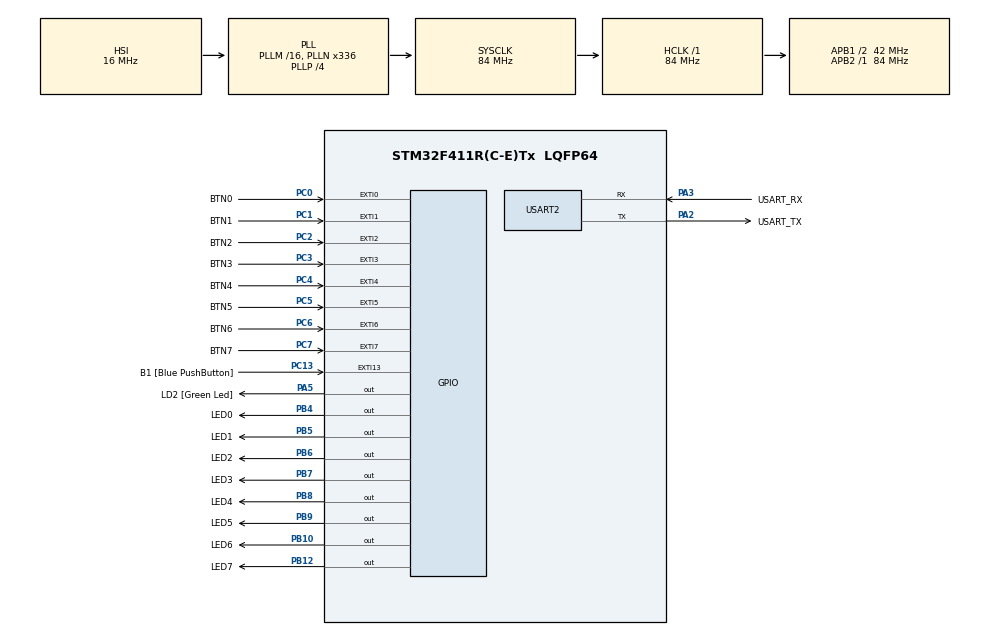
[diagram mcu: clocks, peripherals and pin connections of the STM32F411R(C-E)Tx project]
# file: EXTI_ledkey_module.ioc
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Mcu.Family=STM32F4
Mcu.Name=STM32F411R(C-E)Tx
Mcu.Package=LQFP64
NVIC.EXTI0_IRQn=true\:0\:0\:false\:false\:true\:true\:true\:true
NVIC.EXTI15_10_IRQn=true\:0\:0\:false\:false\:true\:true\:true\:true
NVIC.EXTI1_IRQn=true\:0\:0\:false\:false\:true\:true\:true\:true
NVIC.EXTI2_IRQn=true\:0\:0\:false\:false\:true\:true\:true\:true
NVIC.EXTI3_IRQn=true\:0\:0\:false\:false\:true\:true\:true\:true
NVIC.EXTI4_IRQn=true\:0\:0\:false\:false\:true\:true\:true\:true
NVIC.EXTI9_5_IRQn=true\:0\:0\:false\:false\:true\:true\:true\:true
NVIC.PriorityGroup=NVIC_PRIORITYGROUP_0
PA13.GPIO_Label=TMS
PA13.Mode=Serial_Wire
PA13.Signal=SYS_JTMS-SWDIO
PA14.GPIO_Label=TCK
PA14.Mode=Serial_Wire
PA14.Signal=SYS_JTCK-SWCLK
PA2.GPIO_Label=USART_TX
PA2.Mode=Asynchronous
PA2.Signal=USART2_TX
PA3.GPIO_Label=USART_RX
PA3.Mode=Asynchronous
PA3.Signal=USART2_RX
PA5.GPIO_Label=LD2 [Green Led]
PA5.Signal=GPIO_Output
PB10.GPIO_Label=LED6
PB10.Signal=GPIO_Output
PB12.GPIO_Label=LED7
PB12.Signal=GPIO_Output
PB3.GPIO_Label=SWO
PB3.Signal=SYS_JTDO-SWO
PB4.GPIO_Label=LED0
PB4.Signal=GPIO_Output
PB5.GPIO_Label=LED1
PB5.Signal=GPIO_Output
PB6.GPIO_Label=LED2
PB6.Signal=GPIO_Output
PB7.GPIO_Label=LED3
PB7.Signal=GPIO_Output
PB8.GPIO_Label=LED4
PB8.Signal=GPIO_Output
PB9.GPIO_Label=LED5
PB9.Signal=GPIO_Output
PC0.GPIO_Label=BTN0
PC0.Signal=GPXTI0
PC1.GPIO_Label=BTN1
PC1.Signal=GPXTI1
PC13-ANTI_TAMP.GPIO_Label=B1 [Blue PushButton]
PC13-ANTI_TAMP.GPIO_ModeDefaultEXTI=GPIO_MODE_IT_FALLING
PC13-ANTI_TAMP.Signal=GPXTI13
PC14-OSC32_IN.Signal=RCC_OSC32_IN
PC15-OSC32_OUT.Signal=RCC_OSC32_OUT
PC2.GPIO_Label=BTN2
PC2.Signal=GPXTI2
PC3.GPIO_Label=BTN3
PC3.Signal=GPXTI3
PC4.GPIO_Label=BTN4
PC4.Signal=GPXTI4
PC5.GPIO_Label=BTN5
PC5.Signal=GPXTI5
PC6.GPIO_Label=BTN6
PC6.Signal=GPXTI6
PC7.GPIO_Label=BTN7
PC7.Signal=GPXTI7
PH0\ -\ OSC_IN.Signal=RCC_OSC_IN
PH1\ -\ OSC_OUT.Signal=RCC_OSC_OUT
ProjectManager.HeapSize=0x200
ProjectManager.StackSize=0x400
ProjectManager.TargetToolchain=STM32CubeIDE
RCC.48MHZClocksFreq_Value=84000000
RCC.AHBFreq_Value=84000000
RCC.APB1CLKDivider=RCC_HCLK_DIV2
RCC.APB1Freq_Value=42000000
RCC.APB1TimFreq_Value=84000000
RCC.APB2Freq_Value=84000000
RCC.APB2TimFreq_Value=84000000
RCC.CortexFreq_Value=84000000
RCC.FLatency-AdvancedSettings=FLASH_LATENCY_2
RCC.HCLKFreq_Value=84000000
RCC.HSE_VALUE=8000000
RCC.HSI_VALUE=16000000
RCC.PLLN=336
RCC.PLLP=RCC_PLLP_DIV4
RCC.SYSCLKFreq_VALUE=84000000
RCC.SYSCLKSource=RCC_SYSCLKSOURCE_PLLCLK
RCC.VCOOutputFreq_Value=336000000
USART2.VirtualMode=VM_ASYNC
board=NUCLEO-F411RE

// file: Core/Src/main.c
/* USER CODE BEGIN Header */
/**
  ******************************************************************************
  * @file           : main.c
  * @brief          : Main program body
  ******************************************************************************
  * @attention
  *
  * Copyright (c) 2025 STMicroelectronics.
  * All rights reserved.
  *
  * This software is licensed under terms that can be found in the LICENSE file
  * in the root directory of this software component.
  * If no LICENSE file comes with this software, it is provided AS-IS.
  *
  ******************************************************************************
  */
/* USER CODE END Header */
#include "main.h"
#include <stdio.h>

/* USER CODE BEGIN PD */
#ifdef __GNUC__
/* With GCC, small printf (option LD Linker->Libraries->Small printf
   set to 'Yes') calls __io_putchar() */
#define PUTCHAR_PROTOTYPE int __io_putchar(int ch)
#else
#define PUTCHAR_PROTOTYPE int fputc(int ch, FILE *f)
#endif /* __GNUC__ */
/* USER CODE END PD */

UART_HandleTypeDef huart2;

/* USER CODE BEGIN PV */
volatile int keyNo = 0;
/* USER CODE END PV */

void SystemClock_Config(void);
static void MX_GPIO_Init(void);
static void MX_USART2_UART_Init(void);

int main(void)
{

  /* USER CODE BEGIN 1 */
	int buttonState[9] = {0, }, buttonStateOld[9] = {0, };
	int cnt = 0;
  /* USER CODE END 1 */

  /* MCU Configuration--------------------------------------------------------*/

  /* Reset of all peripherals, Initializes the Flash interface and the Systick. */
  HAL_Init();

  /* Configure the system clock */
  SystemClock_Config();

  /* Initialize all configured peripherals */
  MX_GPIO_Init();
  MX_USART2_UART_Init();
  /* USER CODE BEGIN 2 */
  printf("main() start!\r\n");
  /* USER CODE END 2 */

  /* Infinite loop */
  /* USER CODE BEGIN WHILE */
  while (1)
  {
	  if(keyNo != 0)
	  {
		  printf("keyNo : %d\r\n", keyNo);
		  if(keyNo == 8)
			  keyNo++;
		  HAL_GPIO_TogglePin(GPIOB, LED0_Pin << (keyNo - 1));
		  keyNo = 0;
	  }
    /* USER CODE END WHILE */

  }
}

void SystemClock_Config(void)
{
  RCC_OscInitTypeDef RCC_OscInitStruct = {0};
  RCC_ClkInitTypeDef RCC_ClkInitStruct = {0};

  /** Configure the main internal regulator output voltage
  */
  __HAL_RCC_PWR_CLK_ENABLE();
  __HAL_PWR_VOLTAGESCALING_CONFIG(PWR_REGULATOR_VOLTAGE_SCALE1);

  /** Initializes the RCC Oscillators according to the specified parameters
  * in the RCC_OscInitTypeDef structure.
  */
  RCC_OscInitStruct.OscillatorType = RCC_OSCILLATORTYPE_HSI;
  RCC_OscInitStruct.HSIState = RCC_HSI_ON;
  RCC_OscInitStruct.HSICalibrationValue = RCC_HSICALIBRATION_DEFAULT;
  RCC_OscInitStruct.PLL.PLLState = RCC_PLL_ON;
  RCC_OscInitStruct.PLL.PLLSource = RCC_PLLSOURCE_HSI;
  RCC_OscInitStruct.PLL.PLLM = 16;
  RCC_OscInitStruct.PLL.PLLN = 336;
  RCC_OscInitStruct.PLL.PLLP = RCC_PLLP_DIV4;
  RCC_OscInitStruct.PLL.PLLQ = 4;
  if (HAL_RCC_OscConfig(&RCC_OscInitStruct) != HAL_OK)
  {
    Error_Handler();
  }

  /** Initializes the CPU, AHB and APB buses clocks
  */
  RCC_ClkInitStruct.ClockType = RCC_CLOCKTYPE_HCLK|RCC_CLOCKTYPE_SYSCLK
                              |RCC_CLOCKTYPE_PCLK1|RCC_CLOCKTYPE_PCLK2;
  RCC_ClkInitStruct.SYSCLKSource = RCC_SYSCLKSOURCE_PLLCLK;
  RCC_ClkInitStruct.AHBCLKDivider = RCC_SYSCLK_DIV1;
  RCC_ClkInitStruct.APB1CLKDivider = RCC_HCLK_DIV2;
  RCC_ClkInitStruct.APB2CLKDivider = RCC_HCLK_DIV1;

  if (HAL_RCC_ClockConfig(&RCC_ClkInitStruct, FLASH_LATENCY_2) != HAL_OK)
  {
    Error_Handler();
  }
}

static void MX_USART2_UART_Init(void)
{

  huart2.Instance = USART2;
  huart2.Init.BaudRate = 115200;
  huart2.Init.WordLength = UART_WORDLENGTH_8B;
  huart2.Init.StopBits = UART_STOPBITS_1;
  huart2.Init.Parity = UART_PARITY_NONE;
  huart2.Init.Mode = UART_MODE_TX_RX;
  huart2.Init.HwFlowCtl = UART_HWCONTROL_NONE;
  huart2.Init.OverSampling = UART_OVERSAMPLING_16;
  if (HAL_UART_Init(&huart2) != HAL_OK)
  {
    Error_Handler();
  }

}

static void MX_GPIO_Init(void)
{
  GPIO_InitTypeDef GPIO_InitStruct = {0};

  /* GPIO Ports Clock Enable */
  __HAL_RCC_GPIOC_CLK_ENABLE();
  __HAL_RCC_GPIOH_CLK_ENABLE();
  __HAL_RCC_GPIOA_CLK_ENABLE();
  __HAL_RCC_GPIOB_CLK_ENABLE();

  /*Configure GPIO pin Output Level */
  HAL_GPIO_WritePin(LD2_GPIO_Port, LD2_Pin, GPIO_PIN_RESET);

  /*Configure GPIO pin Output Level */
  HAL_GPIO_WritePin(GPIOB, LED6_Pin|LED7_Pin|LED0_Pin|LED1_Pin
                          |LED2_Pin|LED3_Pin|LED4_Pin|LED5_Pin, GPIO_PIN_RESET);

  /*Configure GPIO pin : B1_Pin */
  GPIO_InitStruct.Pin = B1_Pin;
  GPIO_InitStruct.Mode = GPIO_MODE_IT_FALLING;
  GPIO_InitStruct.Pull = GPIO_NOPULL;
  HAL_GPIO_Init(B1_GPIO_Port, &GPIO_InitStruct);

  /*Configure GPIO pins : BTN0_Pin BTN1_Pin BTN2_Pin BTN3_Pin
                           BTN4_Pin BTN5_Pin BTN6_Pin BTN7_Pin */
  GPIO_InitStruct.Pin = BTN0_Pin|BTN1_Pin|BTN2_Pin|BTN3_Pin
                          |BTN4_Pin|BTN5_Pin|BTN6_Pin|BTN7_Pin;
  GPIO_InitStruct.Mode = GPIO_MODE_IT_RISING;
  GPIO_InitStruct.Pull = GPIO_NOPULL;
  HAL_GPIO_Init(GPIOC, &GPIO_InitStruct);

  /*Configure GPIO pin : LD2_Pin */
  GPIO_InitStruct.Pin = LD2_Pin;
  GPIO_InitStruct.Mode = GPIO_MODE_OUTPUT_PP;
  GPIO_InitStruct.Pull = GPIO_NOPULL;
  GPIO_InitStruct.Speed = GPIO_SPEED_FREQ_LOW;
  HAL_GPIO_Init(LD2_GPIO_Port, &GPIO_InitStruct);

  /*Configure GPIO pins : LED6_Pin LED7_Pin LED0_Pin LED1_Pin
                           LED2_Pin LED3_Pin LED4_Pin LED5_Pin */
  GPIO_InitStruct.Pin = LED6_Pin|LED7_Pin|LED0_Pin|LED1_Pin
                          |LED2_Pin|LED3_Pin|LED4_Pin|LED5_Pin;
  GPIO_InitStruct.Mode = GPIO_MODE_OUTPUT_PP;
  GPIO_InitStruct.Pull = GPIO_NOPULL;
  GPIO_InitStruct.Speed = GPIO_SPEED_FREQ_LOW;
  HAL_GPIO_Init(GPIOB, &GPIO_InitStruct);

  /* EXTI interrupt init*/
  HAL_NVIC_SetPriority(EXTI0_IRQn, 0, 0);
  HAL_NVIC_EnableIRQ(EXTI0_IRQn);

  HAL_NVIC_SetPriority(EXTI1_IRQn, 0, 0);
  HAL_NVIC_EnableIRQ(EXTI1_IRQn);

  HAL_NVIC_SetPriority(EXTI2_IRQn, 0, 0);
  HAL_NVIC_EnableIRQ(EXTI2_IRQn);

  HAL_NVIC_SetPriority(EXTI3_IRQn, 0, 0);
  HAL_NVIC_EnableIRQ(EXTI3_IRQn);

  HAL_NVIC_SetPriority(EXTI4_IRQn, 0, 0);
  HAL_NVIC_EnableIRQ(EXTI4_IRQn);

  HAL_NVIC_SetPriority(EXTI9_5_IRQn, 0, 0);
  HAL_NVIC_EnableIRQ(EXTI9_5_IRQn);

  HAL_NVIC_SetPriority(EXTI15_10_IRQn, 0, 0);
  HAL_NVIC_EnableIRQ(EXTI15_10_IRQn);

}

/* USER CODE BEGIN 4 */
/**
  * @brief  Retargets the C library printf function to the USART.
  * @param  None
  * @retval None
  */
PUTCHAR_PROTOTYPE
{
  /* Place your implementation of fputc here */
  /* e.g. write a character to the USART6 and Loop until the end of transmission */
  HAL_UART_Transmit(&huart2, (uint8_t *)&ch, 1, 0xFFFF);

  return ch;
}

void HAL_GPIO_EXTI_Callback(uint16_t GPIO_PIN)
{
	switch(GPIO_PIN)
	{
		case BTN0_Pin:
			keyNo = 1;
			break;
		case BTN1_Pin:
			keyNo = 2;
			break;
		case BTN2_Pin:
			keyNo = 3;
			break;
		case BTN3_Pin:
			keyNo = 4;
			break;
		case BTN4_Pin:
			keyNo = 5;
			break;
		case BTN5_Pin:
			keyNo = 6;
			break;
		case BTN6_Pin:
			keyNo = 7;
			break;
		case BTN7_Pin:
			keyNo = 8;
			break;
		case B1_Pin:
			keyNo = 9;
			break;

	}
}
/* USER CODE END 4 */

void Error_Handler(void)
{
  __disable_irq();
  while (1)
  {
  }
}
